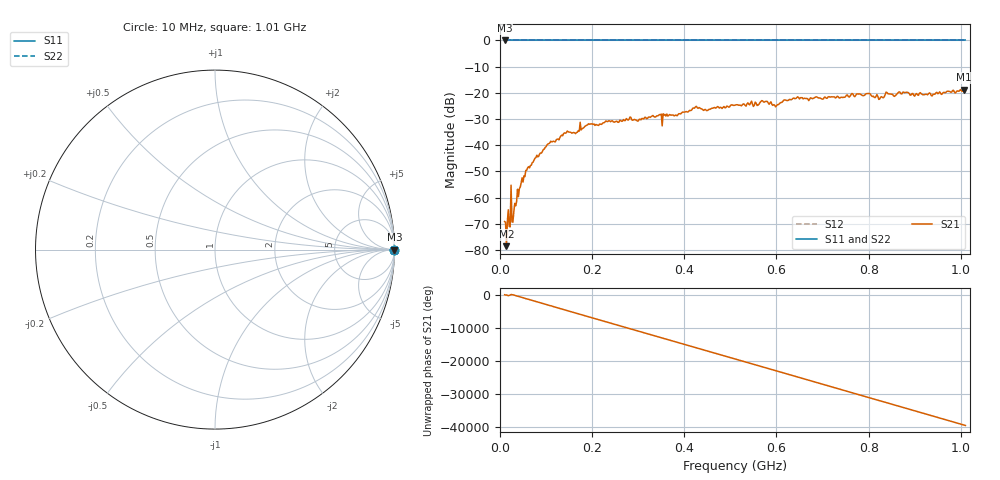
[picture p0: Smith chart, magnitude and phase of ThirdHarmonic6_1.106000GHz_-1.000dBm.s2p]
! 8/16/2025 10:28:16 AM
! C:\ANRITSUVNA\TEMP\TEMP.S2P
! CHANNEL.1
! TR.MEASUREMENT
! RAW.DATA
! RF.CORRECTION.OFF
! AVERAGING.OFF
! IF.BANDWIDTH: 5KHZ
! SWEEPTYPE:  FREQ.SWEEP(Linear)
! Reference Plane Port Info
! PORT:  PORT1  PORT2
! DISTANCE:  0  m  0  m
! TIME:  0  s  0  s
! PHASE.OFFSET:  0  deg.  0  deg.
! LOSS:  0  dB  0  dB
! REF.LOSS:  0  dB  0  dB
! REF.FREQ:  0  Hz  0  Hz
! Power Info
! POWER:  -20  dBm  -20  dBm
! EFF.POWER:  -20  dBm  -20  dBm
! SOURCE.ATTEN:  0  dB  0  dB
! TEST.ATTEN:  0  dB  0  dB
# GHZ S RI R 50.0
! FREQ.GHZ  S11RE  S11IM  S21RE  S21IM  S12RE  S12IM  S22RE  S22IM
!; PortSelection: Port_12
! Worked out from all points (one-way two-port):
!   501 points, 10 MHz to 1.01 GHz, reference 50 ohm
!   highest |S21| = -18.75 dB at 1.006 GHz (marker M1); lowest = -78.6 dB at 14 MHz (marker M2)
!   lowest |S11| = 0.0 dB at 10 MHz (marker M3)
!   |S11| at or under -10 dB: nowhere
!   |S22| runs from 0.0 to 0.0 dB; largest |S21 - S12| = 1.1
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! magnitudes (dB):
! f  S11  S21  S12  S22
! 10 MHz  0.0  -69.2  0.0  0.0
! 14 MHz  0.0  -78.6  0.0  0.0
! 18 MHz  0.0  -64.7  0.0  0.0
! 20 MHz  0.0  -71.0  0.0  0.0
! 24 MHz  0.0  -55.3  0.0  0.0
! 28 MHz  0.0  -69.4  0.0  0.0
! 30 MHz  0.0  -65.4  0.0  0.0
! 42 MHz  0.0  -56.6  0.0  0.0
! 56 MHz  0.0  -49.7  0.0  0.0
! 76 MHz  0.0  -45.0  0.0  0.0
! 108 MHz  0.0  -39.1  0.0  0.0
! 178 MHz  0.0  -33.7  0.0  0.0
! 344 MHz  0.0  -28.7  0.0  0.0
! 510 MHz  0.0  -24.7  0.0  0.0
! 572 MHz  0.0  -23.5  0.0  0.0
! 600 MHz  0.0  -24.9  0.0  0.0
! 678 MHz  0.0  -22.2  0.0  0.0
! 798 MHz  0.0  -20.3  0.0  0.0
! 826 MHz  0.0  -21.6  0.0  0.0
! 844 MHz  0.0  -20.5  0.0  0.0
! 1.006 GHz  0.0  -18.8  0.0  0.0
! 1.01 GHz  0.0  -19.6  0.0  0.0
